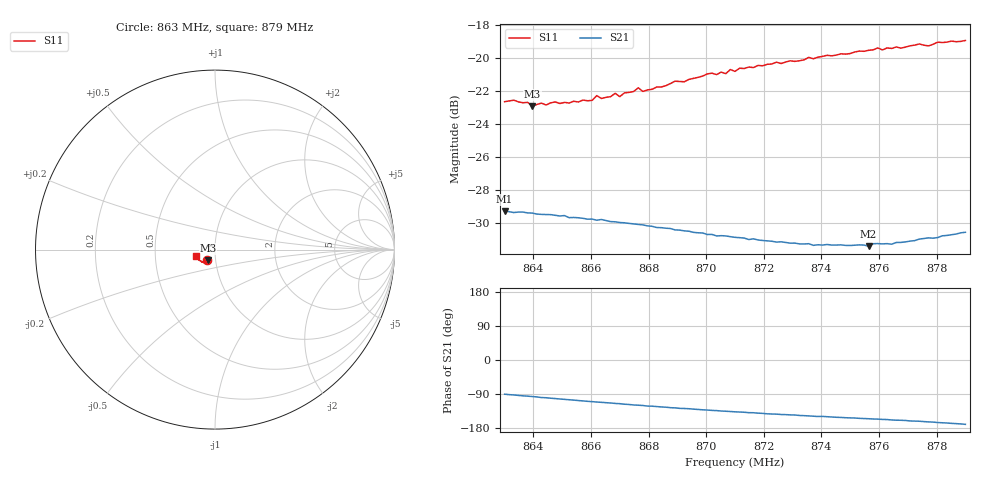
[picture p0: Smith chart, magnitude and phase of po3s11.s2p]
# HZ S RI R 50
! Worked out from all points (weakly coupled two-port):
!   101 points, 863 MHz to 879 MHz, reference 50 ohm
!   highest |S21| = -29.29 dB at 863 MHz (marker M1); lowest = -31.4 dB at 875.64 MHz (marker M2)
!   lowest |S11| = -22.9 dB at 863.96 MHz (marker M3), VSWR 1.15, Z = 45.9 - j5.5 ohm
!   |S11| at or under -10 dB: start of sweep to end of sweep
!   S12 and S22 are empty: the file has one direction only
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8.63e8  -0.043 -0.0597  -0.000118 -0.0343  0 0  0 0
8.638e8  -0.0413 -0.0605  -0.00317 -0.0338  0 0  0 0
8.6396e8  -0.0391 -0.0596  -0.00382 -0.0337  0 0  0 0
8.6572e8  -0.0374 -0.0644  -0.0101 -0.0311  0 0  0 0
8.6604e8  -0.0374 -0.0642  -0.011 -0.0306  0 0  0 0
8.662e8  -0.0401 -0.0655  -0.0115 -0.0301  0 0  0 0
8.6636e8  -0.0389 -0.0644  -0.012 -0.0301  0 0  0 0
8.6668e8  -0.038 -0.0661  -0.0127 -0.0293  0 0  0 0
8.6684e8  -0.0398 -0.067  -0.0133 -0.029  0 0  0 0
8.67e8  -0.0391 -0.0654  -0.0135 -0.0287  0 0  0 0
8.6764e8  -0.0414 -0.0697  -0.0153 -0.0273  0 0  0 0
8.678e8  -0.0408 -0.0677  -0.0156 -0.027  0 0  0 0
8.6844e8  -0.0424 -0.0696  -0.0171 -0.0254  0 0  0 0
8.7004e8  -0.0516 -0.0729  -0.0195 -0.0217  0 0  0 0
8.7068e8  -0.0534 -0.0718  -0.0205 -0.0203  0 0  0 0
8.7084e8  -0.0563 -0.0728  -0.0206 -0.02  0 0  0 0
8.71e8  -0.0559 -0.0716  -0.0208 -0.0196  0 0  0 0
8.7244e8  -0.0655 -0.0714  -0.0221 -0.0167  0 0  0 0
8.7372e8  -0.0718 -0.0685  -0.023 -0.0142  0 0  0 0
8.7564e8  -0.0866 -0.0598  -0.0244 -0.0114  0 0  0 0
8.7644e8  -0.0919 -0.0541  -0.0253 -0.0101  0 0  0 0
8.79e8  -0.107 -0.0356  -0.0292 -0.00523  0 0  0 0
